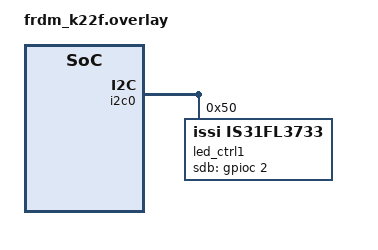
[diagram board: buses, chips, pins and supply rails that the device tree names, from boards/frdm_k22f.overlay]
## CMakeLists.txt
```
# SPDX-License-Identifier: Apache-2.0

cmake_minimum_required(VERSION 3.20.0)

find_package(Zephyr REQUIRED HINTS $ENV{ZEPHYR_BASE})
project(is31fl3733_matrix)

target_sources(app PRIVATE src/main.c)
```

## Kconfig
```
# SPDX-License-Identifier: Apache-2.0
# Copyright 2023 Daniel DeGrasse <daniel@degrasse.com>

source "Kconfig.zephyr"

config LED_ROW_COUNT
	int "Number of rows in IS31FL3733 matrix"
	default 12
	help
	  Set this to match the number of SW LED sink connections
	  wired up to your IS31FL3733 LED driver. The sample will only attempt
	  to drive LEDs within this range.

config LED_COLUMN_COUNT
	int "Number of columns in IS31FL3733 matrix"
	default 16
	help
	  Set this to match the number of CS LED source connections wired up
	  to your IS31FL3733 LED driver. The sample will only attempt to drive
	  LEDs within this range.
```

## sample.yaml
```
sample:
  description: Demonstration of the IS31FL3733 LED driver
  name: IS31FL3733 sample
tests:
  sample.drivers.led.is31fl3733:
    filter: dt_compat_enabled("issi,is31fl3733")
    tags: LED
    depends_on: i2c
```

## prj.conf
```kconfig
# SPDX-License-Identifier: Apache-2.0
# Copyright 2022 Daniel DeGrasse <daniel@degrasse.com>
CONFIG_LED=y
CONFIG_GPIO=y
```

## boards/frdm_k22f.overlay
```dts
/*
 * Copyright 2023 Daniel DeGrasse <daniel@degrasse.com>
 *
 * SPDX-License-Identifier: Apache-2.0
 */

&i2c0 {
	led_ctrl1: is31fl3733@50 {
		reg = <0x50>;
		compatible = "issi,is31fl3733";
		sdb-gpios = <&gpioc 2 GPIO_ACTIVE_HIGH>;
	};
};
```

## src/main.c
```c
/*
 * Copyright 2023 Daniel DeGrasse <daniel@degrasse.com>
 *
 * SPDX-License-Identifier: Apache-2.0
 */

#include <zephyr/kernel.h>
#include <zephyr/drivers/led.h>
#include <zephyr/drivers/led/is31fl3733.h>
#include <string.h>

#define HW_ROW_COUNT 12
#define HW_COL_COUNT 16

/* LED matrix is addressed using a row major format */
#define LED_MATRIX_COORD(x, y) ((x) * HW_COL_COUNT) + (y)

static uint8_t led_state[HW_COL_COUNT * HW_ROW_COUNT];

static int led_channel_write(const struct device *led)
{
	int ret;
	uint32_t led_idx;

	/* Set all LEDs to full brightness */
	printk("Set all LEDs to full brightness\n");
	memset(led_state, 0, sizeof(led_state));
	for (uint8_t row = 0; row < CONFIG_LED_ROW_COUNT; row++) {
		for (uint8_t col = 0; col < CONFIG_LED_COLUMN_COUNT; col++) {
			led_idx = LED_MATRIX_COORD(row, col);
			led_state[led_idx] = 0xFF;
		}
	}
	ret = led_write_channels(led, 0, sizeof(led_state), led_state);
	if (ret) {
		printk("Error: could not write LED channels (%d)\n", ret);
		return ret;
	}
	k_msleep(1000);
	/* Disable quadrant of LED display */
	printk("Disable LED quadrant\n");
	for (uint8_t row = 0; row < CONFIG_LED_ROW_COUNT / 2; row++) {
		for (uint8_t col = 0; col < CONFIG_LED_COLUMN_COUNT / 2; col++) {
			led_idx = LED_MATRIX_COORD(row, col);
			led_state[led_idx] = 0x00;
		}
	}
	ret = led_write_channels(led, 0,
		((CONFIG_LED_ROW_COUNT / 2) * HW_COL_COUNT), led_state);
	if (ret) {
		printk("Error: could not write LED channels (%d)\n", ret);
		return ret;
	}
	k_msleep(1000);
	return 0;
}

static int led_brightness(const struct device *led)
{
	int ret;
	uint8_t row, col;

	/* Set LED brightness to low value sequentially */
	printk("Set LEDs to half brightness sequentially\n");
	for (row = 0; row < CONFIG_LED_ROW_COUNT; row++) {
		for (col = 0; col < CONFIG_LED_COLUMN_COUNT; col++) {
			ret = led_set_brightness(led, LED_MATRIX_COORD(row, col),
						50);
			if (ret < 0) {
				printk("Error: could not enable led "
					"at [%d, %d]: (%d)\n",
					row, col, ret);
				return ret;
			}
			k_msleep(100);
		}
	}
	return 0;
}

static int led_on_off(const struct device *led)
{
	int ret;
	uint8_t row, col;

	printk("Toggle each led\n");
	/* Turn on each led for a short duration */
	for (row = 0; row < CONFIG_LED_ROW_COUNT; row++) {
		for (col = 0; col < CONFIG_LED_COLUMN_COUNT; col++) {
			ret = led_off(led, LED_MATRIX_COORD(row, col));
			if (ret < 0) {
				printk("Error: could not disable led "
					"at [%d, %d]: (%d)\n",
					row, col, ret);
				return ret;
			}
			k_msleep(100);
			ret = led_on(led, LED_MATRIX_COORD(row, col));
			if (ret < 0) {
				printk("Error: could not enable led "
					"at [%d, %d]: (%d)\n",
					row, col, ret);
				return ret;
			}
		}
	}
	k_msleep(500);
	return 0;
}

const struct device *led_dev = DEVICE_DT_GET_ONE(issi_is31fl3733);

int main(void)
{
	int ret;
	int current_limit = 0xFF;

	if (!device_is_ready(led_dev)) {
		printk("Error- LED device is not ready\n");
		return 0;
	}

	while (1) {
		ret = led_channel_write(led_dev);
		if (ret < 0) {
			return 0;
		}
		ret = led_brightness(led_dev);
		if (ret < 0) {
			return 0;
		}
		ret = led_on_off(led_dev);
		if (ret < 0) {
			return 0;
		}
		if (current_limit == 0xFF) {
			/* Select lower current limt */
			printk("Restarting sample with lower current limit\n");
			current_limit = 0x3F;
			ret = is31fl3733_current_limit(led_dev, current_limit);
			if (ret) {
				printk("Could not set LED current limit (%d)\n", ret);
				return 0;
			}
		} else {
			/* Select higher current limt */
			printk("Restarting sample with higher current limit\n");
			current_limit = 0xFF;
			ret = is31fl3733_current_limit(led_dev, current_limit);
			if (ret) {
				printk("Could not set LED current limit (%d)\n", ret);
				return 0;
			}
		}
	}
}
```
